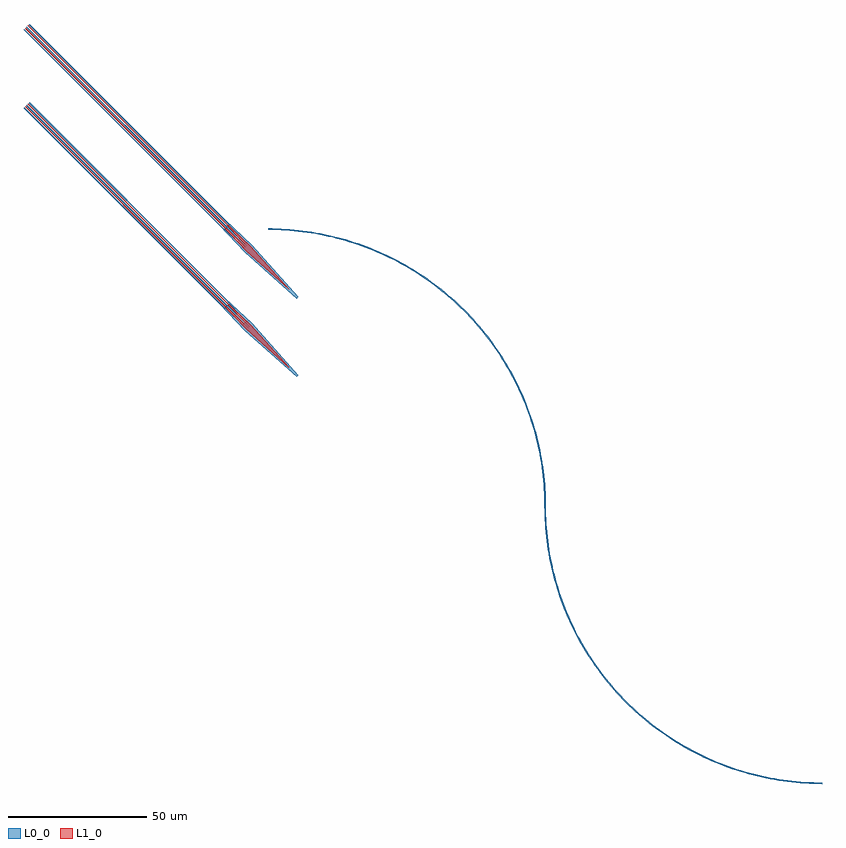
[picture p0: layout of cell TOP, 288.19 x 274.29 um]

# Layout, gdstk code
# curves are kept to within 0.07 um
import gdstk
lib = gdstk.Library(unit=1e-6, precision=1e-09)
def P(c, l, *ps):  # polygons
    for p in ps: c.add(gdstk.Polygon(p, *l))
L0_0 = (0, 0)
L1_0 = (1, 0)

top = lib.new_cell('TOP')
P(top, L0_0, [(-7.461,-7.461),(-16.553,2.163),(-16.305,2.411),(-6.681,-6.681)],
  [(-8.382,-8.382),(-17.475,1.242),(-17.226,1.49),(-7.602,-7.602)],
  [(-6.539,-6.539),(-15.632,3.084),(-15.384,3.332),(-5.759,-5.759)],
  [(-16.553,2.163),(-87.264,72.874),(-87.016,73.122),(-16.305,2.411)],
  [(-17.475,1.242),(-88.185,71.952),(-87.937,72.2),(-17.226,1.49)],
  [(-15.632,3.084),(-86.343,73.795),(-86.094,74.043),(-15.384,3.332)],
  [(10.288,-25.066),(-8.382,-8.382),(-5.759,-5.759),(10.924,-24.43)],
  [(99.75,-100),(99.639,-95.301),(99.307,-90.612),(98.754,-85.945),(97.983,-81.308),(96.993,-76.713),(95.789,-72.17),(94.372,-67.689),(92.156,-61.827),(90.256,-57.528),(88.155,-53.324),(85.859,-49.223),(83.371,-45.234),(80.699,-41.368),(76.858,-36.416),(73.778,-32.867),(70.533,-29.466),(67.132,-26.221),(63.583,-23.141),(58.631,-19.3),(54.765,-16.628),(50.776,-14.14),(46.675,-11.844),(42.471,-9.743),(38.172,-7.843),(33.789,-6.147),(29.33,-4.659),(24.806,-3.383),(20.228,-2.322),(15.604,-1.478),(9.387,-0.692),(4.698,-0.36),(0,-0.25),(0,0.25),(4.722,0.138),(9.434,-0.194),(15.682,-0.984),(20.329,-1.832),(24.931,-2.899),(29.477,-4.181),(33.958,-5.676),(38.364,-7.381),(42.684,-9.291),(46.909,-11.402),(51.031,-13.71),(55.039,-16.21),(58.925,-18.896),(62.68,-21.761),(67.469,-25.851),(70.887,-29.112),(74.148,-32.53),(78.238,-37.319),(81.103,-41.074),(83.789,-44.96),(86.289,-48.968),(88.597,-53.09),(90.708,-57.315),(92.618,-61.635),(94.323,-66.041),(95.818,-70.522),(97.48,-76.597),(98.474,-81.215),(99.459,-87.435),(100.052,-93.705),(100.25,-100)],
  [(200,-200.25),(195.277,-200.138),(190.565,-199.805),(184.317,-199.015),(179.67,-198.167),(175.068,-197.1),(170.522,-195.818),(166.041,-194.323),(161.635,-192.618),(157.315,-190.708),(153.09,-188.597),(148.968,-186.289),(144.96,-183.789),(141.074,-181.103),(137.319,-178.238),(132.53,-174.148),(129.112,-170.887),(125.851,-167.469),(121.761,-162.68),(118.896,-158.925),(116.21,-155.039),(113.71,-151.031),(111.402,-146.909),(109.291,-142.684),(107.381,-138.364),(105.676,-133.958),(104.181,-129.477),(102.899,-124.931),(101.832,-120.329),(100.984,-115.682),(100.194,-109.434),(99.861,-104.722),(99.75,-100),(100.25,-100),(100.36,-104.698),(100.692,-109.387),(101.478,-115.604),(102.322,-120.228),(103.383,-124.806),(104.659,-129.33),(106.147,-133.789),(107.843,-138.172),(109.743,-142.471),(111.844,-146.675),(114.14,-150.776),(116.628,-154.765),(119.3,-158.631),(123.141,-163.583),(126.221,-167.132),(129.466,-170.533),(132.867,-173.778),(136.416,-176.858),(141.368,-180.699),(145.234,-183.371),(149.223,-185.859),(153.324,-188.155),(157.528,-190.256),(161.827,-192.156),(166.21,-193.852),(170.669,-195.34),(175.193,-196.616),(179.771,-197.677),(184.395,-198.521),(190.612,-199.307),(195.301,-199.639),(200,-199.75)],
  [(-7.461,-35.745),(-16.553,-26.12),(-16.305,-25.872),(-6.681,-34.965)],
  [(-8.382,-36.666),(-17.475,-27.042),(-17.226,-26.794),(-7.602,-35.886)],
  [(-6.539,-34.823),(-15.632,-25.199),(-15.384,-24.951),(-5.759,-34.044)],
  [(-16.553,-26.12),(-87.264,44.589),(-87.016,44.837),(-16.305,-25.872)],
  [(-17.475,-27.042),(-88.185,43.668),(-87.937,43.916),(-17.226,-26.794)],
  [(-15.632,-25.199),(-86.343,45.511),(-86.094,45.759),(-15.384,-24.951)],
  [(10.288,-53.351),(-8.382,-36.666),(-5.759,-34.044),(10.924,-52.714)])
P(top, L1_0, [(-7.921,-7.921),(-17.014,1.702),(-16.766,1.95),(-7.141,-7.141)],
  [(-7,-7),(-16.093,2.624),(-15.844,2.872),(-6.22,-6.22)],
  [(-17.014,1.702),(-87.725,72.413),(-87.476,72.661),(-16.766,1.95)],
  [(-16.093,2.624),(-86.803,73.334),(-86.555,73.582),(-15.844,2.872)],
  [(7.481,-21.764),(-7.921,-7.921),(-6.22,-6.22),(7.622,-21.623)],
  [(-7.921,-36.205),(-17.014,-26.581),(-16.766,-26.333),(-7.141,-35.426)],
  [(-7,-35.284),(-16.093,-25.66),(-15.844,-25.412),(-6.22,-34.504)],
  [(-17.014,-26.581),(-87.725,44.129),(-87.476,44.377),(-16.766,-26.333)],
  [(-16.093,-25.66),(-86.803,45.05),(-86.555,45.298),(-15.844,-25.412)],
  [(7.481,-50.049),(-7.921,-36.205),(-6.22,-34.504),(7.622,-49.907)])

lib.write_gds('TOP.gds')
